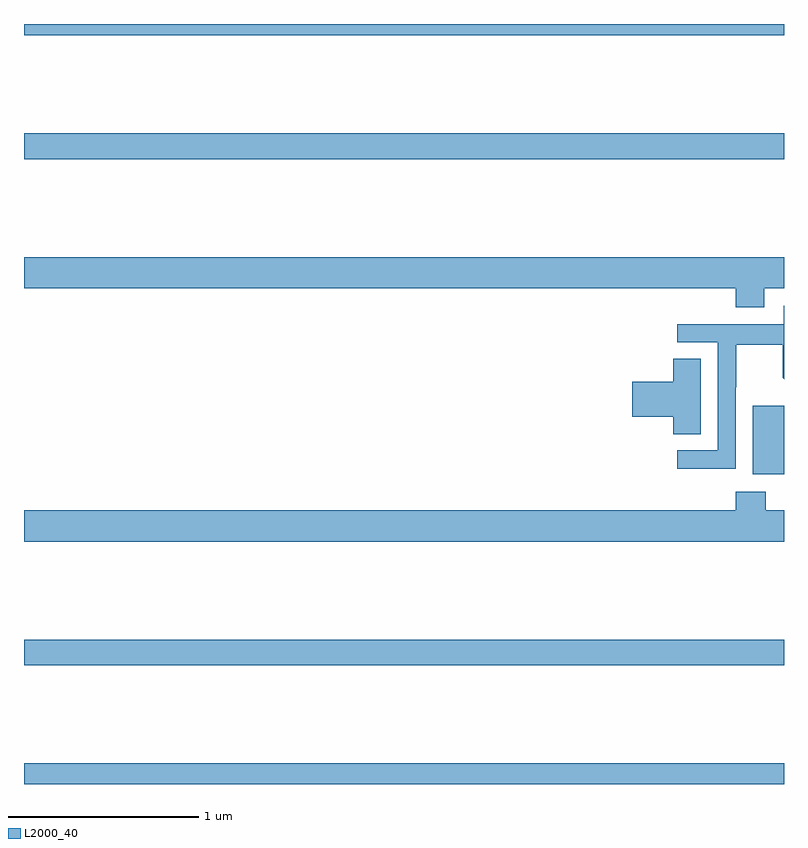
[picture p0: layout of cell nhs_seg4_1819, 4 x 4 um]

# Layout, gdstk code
import gdstk
lib = gdstk.Library(unit=1e-6, precision=1e-09)
def R(c, l, rs):  # rectangles x0, y0, x1, y1
    for r in rs: c.add(gdstk.rectangle(r[:2], r[2:], *l))
def P(c, l, *ps):  # polygons
    for p in ps: c.add(gdstk.Polygon(p, *l))
L2000_40 = (2000, 40)

nhs_seg4_1819 = lib.new_cell('nhs_seg4_1819')
R(nhs_seg4_1819, L2000_40, [(205,772.9,209,773.008), (205,773.524,209,773.66), (208.835,774.53,209,774.891), (205,776.188,209,776.324), (205,776.84,209,776.9)])
P(nhs_seg4_1819, L2000_40, [(208.897,775.508),(209,775.508),(209,775.672),(205,775.672),(205,775.508),(208.745,775.508),(208.745,775.409),(208.897,775.409)],
  [(208.746,774.988),(208.749,774.988),(208.749,775.212),(208.993,775.212),(208.993,775.037),(209,775.03),(209,775.417),(208.998,775.417),(208.998,775.32),(208.437,775.32),(208.437,775.224),(208.65,775.224),(208.65,774.657),(208.437,774.657),(208.437,774.559),(208.746,774.559)],
  [(208.561,775.139),(208.418,775.139),(208.418,775.016),(208.2,775.016),(208.2,774.833),(208.418,774.833),(208.418,774.742),(208.561,774.742)],
  [(209,774.34),(208.905,774.34),(208.905,774.439),(208.745,774.439),(208.745,774.34),(205,774.34),(205,774.176),(209,774.176)])

lib.write_gds('nhs_seg4_1819.gds')
